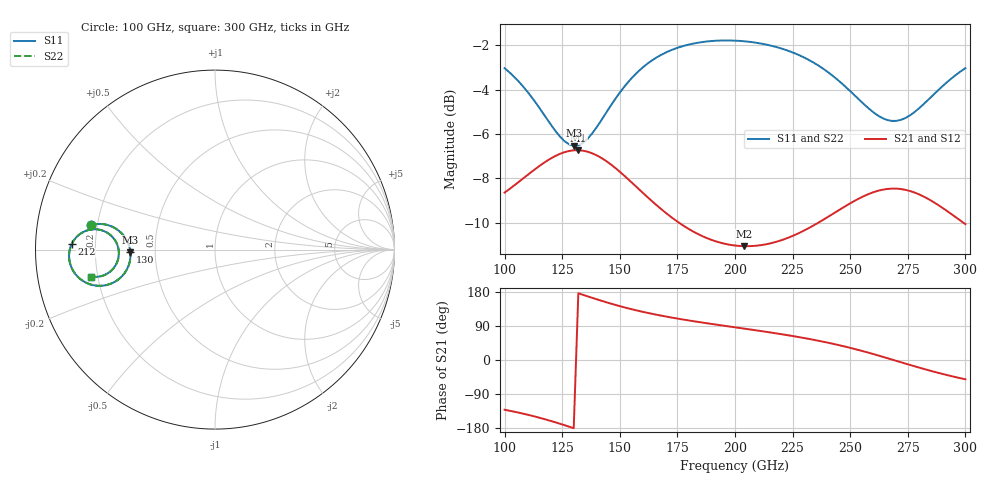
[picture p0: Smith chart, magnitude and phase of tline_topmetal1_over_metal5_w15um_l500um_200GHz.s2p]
#  GHZ S DB R 50
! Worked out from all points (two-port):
!   101 points, 100 GHz to 300 GHz, reference 50 ohm
!   highest |S21| = -6.73 dB at 132 GHz (marker M1); lowest = -11.0 dB at 204 GHz (marker M2)
!   |S21| within 3 dB of the highest: start of sweep to 172.2 GHz; 240.4 GHz to 295.6 GHz (55.22 GHz wide, 20.6 % of centre)
!   lowest |S11| = -6.5 dB at 130 GHz (marker M3), VSWR 2.78, Z = 18 - j0.707 ohm
!   |S11| at or under -10 dB: nowhere
!   |S22| runs from -6.5 to -1.8 dB; largest |S21 - S12| = 0
!   S11 on the Smith chart (normalised r, x): 100 GHz: 0.17, +0.09; 130 GHz: 0.36, -0.01; 212 GHz: 0.11, +0.02; 300 GHz: 0.17, -0.10
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100  -3.04 168.8  -8.64 -131.3  -8.64 -131.3  -3.04 168.8
108  -3.86 167.2  -8.00 -141.6  -8.00 -141.6  -3.86 167.2
116  -4.96 168.0  -7.37 -153.8  -7.37 -153.8  -4.96 168.0
124  -6.11 173.8  -6.89 -168.1  -6.89 -168.1  -6.11 173.8
130  -6.53 -178.1  -6.73 -179.9  -6.73 -179.9  -6.53 -178.2
132  -6.51 -175.2  -6.73 176.1  -6.73 176.1  -6.51 -175.2
134  -6.40 -172.3  -6.75 172.1  -6.75 172.1  -6.40 -172.3
142  -5.38 -164.0  -7.08 156.4  -7.08 156.4  -5.38 -164.1
150  -4.14 -161.8  -7.70 142.1  -7.70 142.1  -4.14 -161.8
158  -3.18 -163.2  -8.45 129.9  -8.45 129.9  -3.18 -163.2
168  -2.43 -166.6  -9.38 117.0  -9.38 117.0  -2.43 -166.6
184  -1.89 -172.6  -10.51 100.5  -10.51 100.5  -1.89 -172.6
200  -1.80 -178.2  -11.02 86.3  -11.02 86.3  -1.80 -178.2
204  -1.82 -179.5  -11.05 82.8  -11.05 82.8  -1.83 -179.5
212  -1.94 177.9  -10.99 75.7  -10.99 75.7  -1.94 177.9
234  -2.78 171.7  -10.12 53.4  -10.12 53.4  -2.78 171.7
244  -3.51 170.3  -9.50 40.7  -9.50 40.7  -3.52 170.2
252  -4.27 171.0  -9.00 28.9  -9.00 28.9  -4.27 170.9
268  -5.41 -179.1  -8.46 1.4  -8.46 1.4  -5.42 -179.1
276  -5.16 -172.3  -8.57 -13.1  -8.57 -13.1  -5.17 -172.2
284  -4.44 -168.0  -8.93 -27.0  -8.93 -27.0  -4.45 -168.0
300  -3.03 -167.7  -10.06 -50.9  -10.06 -50.9  -3.04 -167.7
